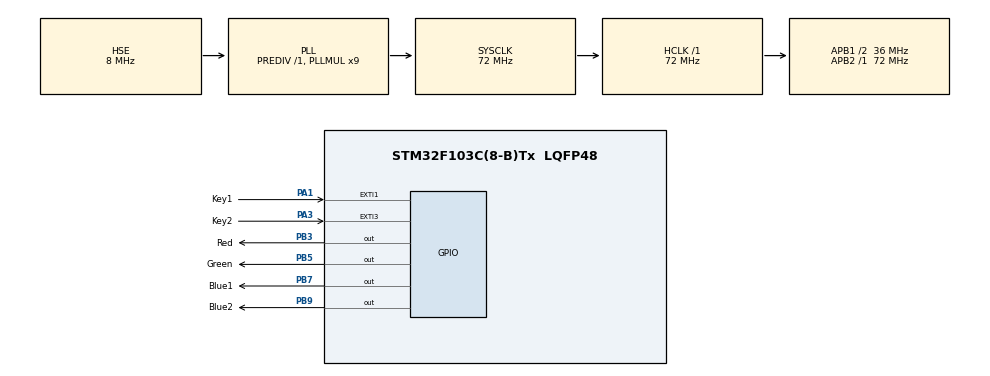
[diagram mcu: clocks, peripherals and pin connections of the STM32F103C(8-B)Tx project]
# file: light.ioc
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Mcu.Family=STM32F1
Mcu.Name=STM32F103C(8-B)Tx
Mcu.Package=LQFP48
NVIC.EXTI1_IRQn=true\:0\:0\:true\:false\:true\:true\:true\:true
NVIC.EXTI3_IRQn=true\:0\:0\:true\:false\:true\:true\:true\:true
NVIC.PriorityGroup=NVIC_PRIORITYGROUP_4
NVIC.TIM2_IRQn=true\:1\:0\:true\:false\:true\:true\:true\:true
NVIC.TIM3_IRQn=true\:0\:0\:false\:false\:true\:true\:true\:true
PA1.GPIO_Label=Key1
PA1.GPIO_ModeDefaultEXTI=GPIO_MODE_IT_FALLING
PA1.GPIO_PuPd=GPIO_PULLUP
PA1.Signal=GPXTI1
PA13.Mode=Serial_Wire
PA13.Signal=SYS_JTMS-SWDIO
PA14.Mode=Serial_Wire
PA14.Signal=SYS_JTCK-SWCLK
PA3.GPIO_Label=Key2
PA3.GPIO_ModeDefaultEXTI=GPIO_MODE_IT_RISING_FALLING
PA3.GPIO_PuPd=GPIO_PULLUP
PA3.Signal=GPXTI3
PB3.GPIO_Label=Red
PB3.PinState=GPIO_PIN_SET
PB3.Signal=GPIO_Output
PB5.GPIO_Label=Green
PB5.PinState=GPIO_PIN_SET
PB5.Signal=GPIO_Output
PB7.GPIO_Label=Blue1
PB7.PinState=GPIO_PIN_SET
PB7.Signal=GPIO_Output
PB9.GPIO_Label=Blue2
PB9.PinState=GPIO_PIN_SET
PB9.Signal=GPIO_Output
PD0-OSC_IN.Mode=HSE-External-Oscillator
PD0-OSC_IN.Signal=RCC_OSC_IN
PD1-OSC_OUT.Mode=HSE-External-Oscillator
PD1-OSC_OUT.Signal=RCC_OSC_OUT
ProjectManager.HeapSize=0x200
ProjectManager.StackSize=0x400
ProjectManager.TargetToolchain=CMake
RCC.AHBFreq_Value=72000000
RCC.APB1CLKDivider=RCC_HCLK_DIV2
RCC.APB1Freq_Value=36000000
RCC.APB1TimFreq_Value=72000000
RCC.APB2Freq_Value=72000000
RCC.APB2TimFreq_Value=72000000
RCC.HCLKFreq_Value=72000000
RCC.PLLMUL=RCC_PLL_MUL9
RCC.PLLSourceVirtual=RCC_PLLSOURCE_HSE
RCC.SYSCLKFreq_VALUE=72000000
RCC.SYSCLKSource=RCC_SYSCLKSOURCE_PLLCLK
RCC.USBFreq_Value=72000000
TIM2.Period=2499
TIM2.Prescaler=7199
TIM3.Period=999
TIM3.Prescaler=7199
VP_TIM2_VS_ClockSourceINT.Mode=Internal
VP_TIM3_VS_ClockSourceINT.Mode=Internal
board=custom

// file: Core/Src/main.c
/* USER CODE BEGIN Header */
/**
  ******************************************************************************
  * @file           : main.c
  * @brief          : Main program body
  ******************************************************************************
  * @attention
  *
  * Copyright (c) 2026 STMicroelectronics.
  * All rights reserved.
  *
  * This software is licensed under terms that can be found in the LICENSE file
  * in the root directory of this software component.
  * If no LICENSE file comes with this software, it is provided AS-IS.
  *
  ******************************************************************************
  */
/* USER CODE END Header */
#include "main.h"
#include "stm32f1xx_hal_gpio.h"
#include "tim.h"
#include "gpio.h"

void SystemClock_Config(void);

/* USER CODE BEGIN 0 */
uint32_t last_press_time1 = 0;
uint32_t last_press_time2 = 0;
uint8_t is_first_press = 0;
volatile uint8_t blue2 = 0;
void HAL_GPIO_EXTI_Callback(uint16_t GPIO_Pin)
{
  if(GPIO_Pin == Key1_Pin)
  {
    uint32_t current_time1 = HAL_GetTick();
    if (current_time1 - last_press_time1 > 20)
    {
      if (HAL_GPIO_ReadPin(Key1_GPIO_Port, Key1_Pin) == GPIO_PIN_RESET)
      {
        if (is_first_press == 0)
        {
          is_first_press = 1;
          last_press_time1 = current_time1;
        }else {
          if (current_time1 - last_press_time1 < 500)
          {
            HAL_GPIO_TogglePin(Blue1_GPIO_Port, Blue1_Pin);
            is_first_press = 0;
          }else {
            last_press_time1 = current_time1;
          }
        }
      }
    }
  }
  if(GPIO_Pin == Key2_Pin)
  {
    uint32_t current_time2 = HAL_GetTick();
    if (current_time2 - last_press_time2 > 20)
    {
      if (HAL_GPIO_ReadPin(Key2_GPIO_Port, Key2_Pin) == GPIO_PIN_RESET)
      {
        last_press_time2 = current_time2;
      }else if (HAL_GPIO_ReadPin(Key2_GPIO_Port, Key2_Pin) == GPIO_PIN_SET) {
        if (current_time2 - last_press_time2 >= 1000)
        {
          blue2 = !blue2;
          HAL_GPIO_WritePin(Blue2_GPIO_Port, Blue2_Pin, GPIO_PIN_RESET);
        }else {
          if (blue2 == 0)
          {
            HAL_GPIO_TogglePin(Blue2_GPIO_Port, Blue2_Pin);
          }
        }
        last_press_time2 = current_time2;
      }
    }
  }
}
void HAL_TIM_PeriodElapsedCallback(TIM_HandleTypeDef *htim)
{
  if(htim == &htim2)
  {
    HAL_GPIO_TogglePin(Green_GPIO_Port, Green_Pin);
  }
  if(htim == &htim3)
  {
    if (blue2 == 1)
    {
      HAL_GPIO_TogglePin(Blue2_GPIO_Port, Blue2_Pin);
    }
  }
}
/* USER CODE END 0 */

int main(void)
{

  /* MCU Configuration--------------------------------------------------------*/

  /* Reset of all peripherals, Initializes the Flash interface and the Systick. */
  HAL_Init();

  /* Configure the system clock */
  SystemClock_Config();

  /* Initialize all configured peripherals */
  MX_GPIO_Init();
  MX_TIM2_Init();
  MX_TIM3_Init();
  /* USER CODE BEGIN 2 */
  HAL_TIM_Base_Start_IT(&htim2);
  HAL_TIM_Base_Start_IT(&htim3);
  /* USER CODE END 2 */

  /* Infinite loop */
  /* USER CODE BEGIN WHILE */
  while (1)
  {
    HAL_GPIO_TogglePin(Red_GPIO_Port, Red_Pin);
    HAL_Delay(250);
    /* USER CODE END WHILE */

  }
}

void SystemClock_Config(void)
{
  RCC_OscInitTypeDef RCC_OscInitStruct = {0};
  RCC_ClkInitTypeDef RCC_ClkInitStruct = {0};

  /** Initializes the RCC Oscillators according to the specified parameters
  * in the RCC_OscInitTypeDef structure.
  */
  RCC_OscInitStruct.OscillatorType = RCC_OSCILLATORTYPE_HSE;
  RCC_OscInitStruct.HSEState = RCC_HSE_ON;
  RCC_OscInitStruct.HSEPredivValue = RCC_HSE_PREDIV_DIV1;
  RCC_OscInitStruct.HSIState = RCC_HSI_ON;
  RCC_OscInitStruct.PLL.PLLState = RCC_PLL_ON;
  RCC_OscInitStruct.PLL.PLLSource = RCC_PLLSOURCE_HSE;
  RCC_OscInitStruct.PLL.PLLMUL = RCC_PLL_MUL9;
  if (HAL_RCC_OscConfig(&RCC_OscInitStruct) != HAL_OK)
  {
    Error_Handler();
  }

  /** Initializes the CPU, AHB and APB buses clocks
  */
  RCC_ClkInitStruct.ClockType = RCC_CLOCKTYPE_HCLK|RCC_CLOCKTYPE_SYSCLK
                              |RCC_CLOCKTYPE_PCLK1|RCC_CLOCKTYPE_PCLK2;
  RCC_ClkInitStruct.SYSCLKSource = RCC_SYSCLKSOURCE_PLLCLK;
  RCC_ClkInitStruct.AHBCLKDivider = RCC_SYSCLK_DIV1;
  RCC_ClkInitStruct.APB1CLKDivider = RCC_HCLK_DIV2;
  RCC_ClkInitStruct.APB2CLKDivider = RCC_HCLK_DIV1;

  if (HAL_RCC_ClockConfig(&RCC_ClkInitStruct, FLASH_LATENCY_2) != HAL_OK)
  {
    Error_Handler();
  }
}

void Error_Handler(void)
{
  __disable_irq();
  while (1)
  {
  }
}
